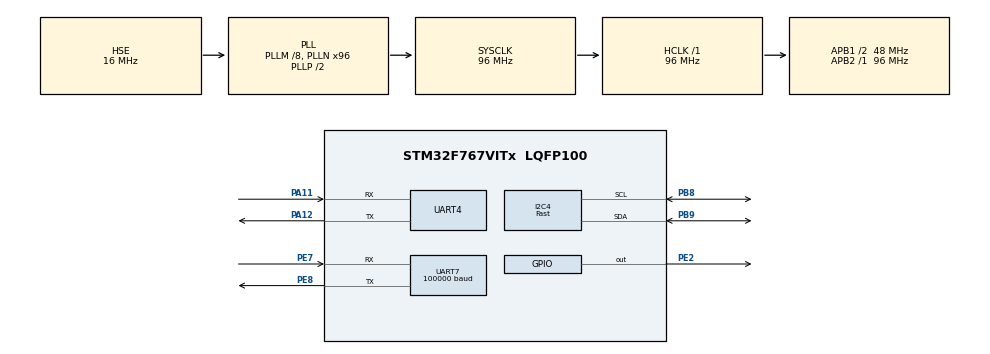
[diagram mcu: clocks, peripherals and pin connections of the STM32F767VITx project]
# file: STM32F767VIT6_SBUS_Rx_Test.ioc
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Dma.Request0=UART7_RX
Dma.UART7_RX.0.Direction=DMA_PERIPH_TO_MEMORY
Dma.UART7_RX.0.FIFOMode=DMA_FIFOMODE_DISABLE
Dma.UART7_RX.0.Instance=DMA1_Stream3
Dma.UART7_RX.0.MemDataAlignment=DMA_MDATAALIGN_BYTE
Dma.UART7_RX.0.MemInc=DMA_MINC_ENABLE
Dma.UART7_RX.0.Mode=DMA_NORMAL
Dma.UART7_RX.0.PeriphDataAlignment=DMA_PDATAALIGN_BYTE
Dma.UART7_RX.0.PeriphInc=DMA_PINC_DISABLE
Dma.UART7_RX.0.Priority=DMA_PRIORITY_VERY_HIGH
I2C4.I2C_Speed_Mode=I2C_Fast
I2C4.Timing=0x2010091A
Mcu.Family=STM32F7
Mcu.Name=STM32F767VITx
Mcu.Package=LQFP100
NVIC.DMA1_Stream3_IRQn=true\:0\:0\:false\:false\:true\:false\:true
NVIC.PriorityGroup=NVIC_PRIORITYGROUP_4
NVIC.TIM2_IRQn=true\:0\:0\:false\:false\:true\:true\:true
NVIC.UART7_IRQn=true\:0\:0\:false\:false\:true\:true\:true
PA11.Mode=Asynchronous
PA11.Signal=UART4_RX
PA12.Mode=Asynchronous
PA12.Signal=UART4_TX
PB8.Mode=I2C
PB8.Signal=I2C4_SCL
PB9.Mode=I2C
PB9.Signal=I2C4_SDA
PE2.Signal=GPIO_Output
PE7.Mode=Asynchronous
PE7.Signal=UART7_RX
PE8.Mode=Asynchronous
PE8.Signal=UART7_TX
PH0/OSC_IN.Mode=HSE-External-Oscillator
PH0/OSC_IN.Signal=RCC_OSC_IN
PH1/OSC_OUT.Mode=HSE-External-Oscillator
PH1/OSC_OUT.Signal=RCC_OSC_OUT
ProjectManager.HeapSize=0x200
ProjectManager.StackSize=0x400
ProjectManager.TargetToolchain=Makefile
RCC.AHBFreq_Value=96000000
RCC.APB1CLKDivider=RCC_HCLK_DIV2
RCC.APB1Freq_Value=48000000
RCC.APB1TimFreq_Value=96000000
RCC.APB2Freq_Value=96000000
RCC.APB2TimFreq_Value=96000000
RCC.CortexFreq_Value=96000000
RCC.HCLKFreq_Value=96000000
RCC.HSE_VALUE=16000000
RCC.HSI_VALUE=16000000
RCC.LSE_VALUE=32768
RCC.PLLM=8
RCC.PLLN=96
RCC.PLLSourceVirtual=RCC_PLLSOURCE_HSE
RCC.SYSCLKFreq_VALUE=96000000
RCC.SYSCLKSource=RCC_SYSCLKSOURCE_PLLCLK
RCC.USBFreq_Value=96000000
RCC.VCOOutputFreq_Value=192000000
TIM1.Period=65000
TIM1.Prescaler=95
TIM2.Period=9999
TIM2.Prescaler=95
UART7.BaudRate=100000
UART7.Parity=PARITY_EVEN
UART7.StopBits=UART_STOPBITS_2
UART7.WordLength=WORDLENGTH_9B
VP_TIM1_VS_ClockSourceINT.Mode=Internal
VP_TIM2_VS_ClockSourceINT.Mode=Internal
board=custom

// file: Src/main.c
/* USER CODE BEGIN Header */
/**
  ******************************************************************************
  * @file           : main.c
  * @brief          : Main program body
  ******************************************************************************
  * @attention
  *
  * <h2><center>&copy; Copyright (c) 2021 STMicroelectronics.
  * All rights reserved.</center></h2>
  *
  * This software component is licensed by ST under BSD 3-Clause license,
  * the "License"; You may not use this file except in compliance with the
  * License. You may obtain a copy of the License at:
  *                        opensource.org/licenses/BSD-3-Clause
  *
  ******************************************************************************
  */
/* USER CODE END Header */

#include "main.h"

/* USER CODE BEGIN Includes */

#include <string.h>
#include <stdio.h>

/* USER CODE END Includes */

/* USER CODE BEGIN PD */

#define SBUS_LENGTH 25

/* USER CODE END PD */

I2C_HandleTypeDef hi2c4;

TIM_HandleTypeDef htim2;

UART_HandleTypeDef huart4;
UART_HandleTypeDef huart7;
DMA_HandleTypeDef hdma_uart7_rx;

/* USER CODE BEGIN PV */

const uint8_t SBUS_start= 0x0F;
const uint8_t SBUS_end=0x00;
int SBUS_lost; //sbus packet lost

//variables to use in the callback need to be declared outside the main function
uint32_t time1[5]; //variable to store time elapsed in microseconds
uint8_t buff[512];
uint16_t channels[16];
uint8_t payloads[25];
uint8_t SBUS_buff[50];
uint8_t SBUS_NewPack = 0; //Variable to set true (1) or false (0) to let the main code know if new sbus data are available

int counter = 0;
int ch_tx_count = 0;
int align_count_mem = 0; //memory for packet alignment counter

/* USER CODE END PV */

void SystemClock_Config(void);
static void MX_GPIO_Init(void);
static void MX_DMA_Init(void);
static void MX_I2C4_Init(void);
static void MX_TIM1_Init(void);
static void MX_TIM2_Init(void);
static void MX_UART4_Init(void);
static void MX_UART7_Init(void);

int main(void)
{

  /* MCU Configuration--------------------------------------------------------*/

  /* Reset of all peripherals, Initializes the Flash interface and the Systick. */
  HAL_Init();

  /* Configure the system clock */
  SystemClock_Config();

  /* Initialize all configured peripherals */
  MX_GPIO_Init();
  MX_DMA_Init();
  MX_I2C4_Init();
  MX_TIM1_Init();
  MX_TIM2_Init();
  MX_UART4_Init();
  MX_UART7_Init();
  /* USER CODE BEGIN 2 */

  HAL_Delay(500);

  sprintf((char*)buff, "Hello!");
  HAL_UART_Transmit(&huart4, buff, strlen((char*)buff), HAL_MAX_DELAY);

  HAL_Delay(1000);

  HAL_TIM_Base_Start_IT(&htim2); //this function start the timer in interrupt mode and calls the irq handler
  HAL_Delay(1000);

  /* USER CODE END 2 */

  /* Infinite loop */
  /* USER CODE BEGIN WHILE */

	HAL_UART_Receive_DMA (&huart7, SBUS_buff, SBUS_LENGTH);

  while (1)
  {
    /* USER CODE END WHILE */

  }
}

void SystemClock_Config(void)
{
  RCC_OscInitTypeDef RCC_OscInitStruct = {0};
  RCC_ClkInitTypeDef RCC_ClkInitStruct = {0};
  RCC_PeriphCLKInitTypeDef PeriphClkInitStruct = {0};

  /** Configure the main internal regulator output voltage
  */
  __HAL_RCC_PWR_CLK_ENABLE();
  __HAL_PWR_VOLTAGESCALING_CONFIG(PWR_REGULATOR_VOLTAGE_SCALE3);
  /** Initializes the CPU, AHB and APB busses clocks
  */
  RCC_OscInitStruct.OscillatorType = RCC_OSCILLATORTYPE_HSE;
  RCC_OscInitStruct.HSEState = RCC_HSE_ON;
  RCC_OscInitStruct.PLL.PLLState = RCC_PLL_ON;
  RCC_OscInitStruct.PLL.PLLSource = RCC_PLLSOURCE_HSE;
  RCC_OscInitStruct.PLL.PLLM = 8;
  RCC_OscInitStruct.PLL.PLLN = 96;
  RCC_OscInitStruct.PLL.PLLP = RCC_PLLP_DIV2;
  RCC_OscInitStruct.PLL.PLLQ = 2;
  if (HAL_RCC_OscConfig(&RCC_OscInitStruct) != HAL_OK)
  {
    Error_Handler();
  }
  /** Activate the Over-Drive mode
  */
  if (HAL_PWREx_EnableOverDrive() != HAL_OK)
  {
    Error_Handler();
  }
  /** Initializes the CPU, AHB and APB busses clocks
  */
  RCC_ClkInitStruct.ClockType = RCC_CLOCKTYPE_HCLK|RCC_CLOCKTYPE_SYSCLK
                              |RCC_CLOCKTYPE_PCLK1|RCC_CLOCKTYPE_PCLK2;
  RCC_ClkInitStruct.SYSCLKSource = RCC_SYSCLKSOURCE_PLLCLK;
  RCC_ClkInitStruct.AHBCLKDivider = RCC_SYSCLK_DIV1;
  RCC_ClkInitStruct.APB1CLKDivider = RCC_HCLK_DIV2;
  RCC_ClkInitStruct.APB2CLKDivider = RCC_HCLK_DIV1;

  if (HAL_RCC_ClockConfig(&RCC_ClkInitStruct, FLASH_LATENCY_3) != HAL_OK)
  {
    Error_Handler();
  }
  PeriphClkInitStruct.PeriphClockSelection = RCC_PERIPHCLK_UART4|RCC_PERIPHCLK_UART7
                              |RCC_PERIPHCLK_I2C4;
  PeriphClkInitStruct.Uart4ClockSelection = RCC_UART4CLKSOURCE_PCLK1;
  PeriphClkInitStruct.Uart7ClockSelection = RCC_UART7CLKSOURCE_PCLK1;
  PeriphClkInitStruct.I2c4ClockSelection = RCC_I2C4CLKSOURCE_PCLK1;
  if (HAL_RCCEx_PeriphCLKConfig(&PeriphClkInitStruct) != HAL_OK)
  {
    Error_Handler();
  }
}

static void MX_I2C4_Init(void)
{

  hi2c4.Instance = I2C4;
  hi2c4.Init.Timing = 0x2010091A;
  hi2c4.Init.OwnAddress1 = 0;
  hi2c4.Init.AddressingMode = I2C_ADDRESSINGMODE_7BIT;
  hi2c4.Init.DualAddressMode = I2C_DUALADDRESS_DISABLE;
  hi2c4.Init.OwnAddress2 = 0;
  hi2c4.Init.OwnAddress2Masks = I2C_OA2_NOMASK;
  hi2c4.Init.GeneralCallMode = I2C_GENERALCALL_DISABLE;
  hi2c4.Init.NoStretchMode = I2C_NOSTRETCH_DISABLE;
  if (HAL_I2C_Init(&hi2c4) != HAL_OK)
  {
    Error_Handler();
  }
  /** Configure Analogue filter
  */
  if (HAL_I2CEx_ConfigAnalogFilter(&hi2c4, I2C_ANALOGFILTER_ENABLE) != HAL_OK)
  {
    Error_Handler();
  }
  /** Configure Digital filter
  */
  if (HAL_I2CEx_ConfigDigitalFilter(&hi2c4, 0) != HAL_OK)
  {
    Error_Handler();
  }

}

static void MX_TIM1_Init(void)
{

  LL_TIM_InitTypeDef TIM_InitStruct = {0};

  /* Peripheral clock enable */
  LL_APB2_GRP1_EnableClock(LL_APB2_GRP1_PERIPH_TIM1);

  TIM_InitStruct.Prescaler = 95;
  TIM_InitStruct.CounterMode = LL_TIM_COUNTERMODE_UP;
  TIM_InitStruct.Autoreload = 65000;
  TIM_InitStruct.ClockDivision = LL_TIM_CLOCKDIVISION_DIV1;
  TIM_InitStruct.RepetitionCounter = 0;
  LL_TIM_Init(TIM1, &TIM_InitStruct);
  LL_TIM_DisableARRPreload(TIM1);
  LL_TIM_SetClockSource(TIM1, LL_TIM_CLOCKSOURCE_INTERNAL);
  LL_TIM_SetTriggerOutput(TIM1, LL_TIM_TRGO_RESET);
  LL_TIM_SetTriggerOutput2(TIM1, LL_TIM_TRGO2_RESET);
  LL_TIM_DisableMasterSlaveMode(TIM1);

}

static void MX_TIM2_Init(void)
{

  TIM_ClockConfigTypeDef sClockSourceConfig = {0};
  TIM_MasterConfigTypeDef sMasterConfig = {0};

  htim2.Instance = TIM2;
  htim2.Init.Prescaler = 95;
  htim2.Init.CounterMode = TIM_COUNTERMODE_UP;
  htim2.Init.Period = 9999;
  htim2.Init.ClockDivision = TIM_CLOCKDIVISION_DIV1;
  htim2.Init.AutoReloadPreload = TIM_AUTORELOAD_PRELOAD_DISABLE;
  if (HAL_TIM_Base_Init(&htim2) != HAL_OK)
  {
    Error_Handler();
  }
  sClockSourceConfig.ClockSource = TIM_CLOCKSOURCE_INTERNAL;
  if (HAL_TIM_ConfigClockSource(&htim2, &sClockSourceConfig) != HAL_OK)
  {
    Error_Handler();
  }
  sMasterConfig.MasterOutputTrigger = TIM_TRGO_RESET;
  sMasterConfig.MasterSlaveMode = TIM_MASTERSLAVEMODE_DISABLE;
  if (HAL_TIMEx_MasterConfigSynchronization(&htim2, &sMasterConfig) != HAL_OK)
  {
    Error_Handler();
  }

}

static void MX_UART4_Init(void)
{

  huart4.Instance = UART4;
  huart4.Init.BaudRate = 115200;
  huart4.Init.WordLength = UART_WORDLENGTH_8B;
  huart4.Init.StopBits = UART_STOPBITS_1;
  huart4.Init.Parity = UART_PARITY_NONE;
  huart4.Init.Mode = UART_MODE_TX_RX;
  huart4.Init.HwFlowCtl = UART_HWCONTROL_NONE;
  huart4.Init.OverSampling = UART_OVERSAMPLING_16;
  huart4.Init.OneBitSampling = UART_ONE_BIT_SAMPLE_DISABLE;
  huart4.AdvancedInit.AdvFeatureInit = UART_ADVFEATURE_NO_INIT;
  if (HAL_UART_Init(&huart4) != HAL_OK)
  {
    Error_Handler();
  }

}

static void MX_UART7_Init(void)
{

  huart7.Instance = UART7;
  huart7.Init.BaudRate = 100000;
  huart7.Init.WordLength = UART_WORDLENGTH_9B;
  huart7.Init.StopBits = UART_STOPBITS_2;
  huart7.Init.Parity = UART_PARITY_EVEN;
  huart7.Init.Mode = UART_MODE_TX_RX;
  huart7.Init.HwFlowCtl = UART_HWCONTROL_NONE;
  huart7.Init.OverSampling = UART_OVERSAMPLING_16;
  huart7.Init.OneBitSampling = UART_ONE_BIT_SAMPLE_DISABLE;
  huart7.AdvancedInit.AdvFeatureInit = UART_ADVFEATURE_NO_INIT;
  if (HAL_UART_Init(&huart7) != HAL_OK)
  {
    Error_Handler();
  }

}

static void MX_DMA_Init(void)
{

  /* DMA controller clock enable */
  __HAL_RCC_DMA1_CLK_ENABLE();

  /* DMA interrupt init */
  /* DMA1_Stream3_IRQn interrupt configuration */
  HAL_NVIC_SetPriority(DMA1_Stream3_IRQn, 0, 0);
  HAL_NVIC_EnableIRQ(DMA1_Stream3_IRQn);

}

static void MX_GPIO_Init(void)
{
  GPIO_InitTypeDef GPIO_InitStruct = {0};

  /* GPIO Ports Clock Enable */
  __HAL_RCC_GPIOE_CLK_ENABLE();
  __HAL_RCC_GPIOH_CLK_ENABLE();
  __HAL_RCC_GPIOA_CLK_ENABLE();
  __HAL_RCC_GPIOB_CLK_ENABLE();

  /*Configure GPIO pin Output Level */
  HAL_GPIO_WritePin(GPIOE, GPIO_PIN_2, GPIO_PIN_RESET);

  /*Configure GPIO pin : PE2 */
  GPIO_InitStruct.Pin = GPIO_PIN_2;
  GPIO_InitStruct.Mode = GPIO_MODE_OUTPUT_PP;
  GPIO_InitStruct.Pull = GPIO_NOPULL;
  GPIO_InitStruct.Speed = GPIO_SPEED_FREQ_LOW;
  HAL_GPIO_Init(GPIOE, &GPIO_InitStruct);

}

/* USER CODE BEGIN 4 */

//function executed as timer callback
void HAL_TIM_PeriodElapsedCallback(TIM_HandleTypeDef* htim){

  if (htim==&htim2){

    if (counter >= 100){
      HAL_GPIO_TogglePin(GPIOE, GPIO_PIN_2);
      counter = 0;
    }

    if (ch_tx_count >= 10){
      ch_tx_count = 0;

      if (SBUS_NewPack){

        // sprintf((char*)buff, "head = %d\n\r", payloads[0]);
        // HAL_UART_Transmit(&huart4, buff, strlen((char*)buff), HAL_MAX_DELAY);

        if (((payloads[23]) & 0x10) == 0x10){
          sprintf((char*)buff, "FAILSAFE\n\r");
          HAL_UART_Transmit(&huart4, buff, strlen((char*)buff), HAL_MAX_DELAY);
        }

        sprintf((char*)buff, "ch2= %d  ch3= %d  i= %d\n\r", channels[1], channels[2], align_count_mem);
        HAL_UART_Transmit(&huart4, buff, strlen((char*)buff), HAL_MAX_DELAY);

        SBUS_NewPack = 0;
      }

    }

    counter += 1;
    ch_tx_count += 1;

  }

}

// Function Called by nterrupt handler when DMA rx transfer complete
void HAL_UART_RxCpltCallback(UART_HandleTypeDef *huart){

  if (huart == &huart7){

    //check for data alignment
    for (int i=0; i<SBUS_LENGTH; i++){

      if (SBUS_buff[i]==SBUS_start && SBUS_buff[i + SBUS_LENGTH - 1]==SBUS_end){

        memcpy(payloads, &SBUS_buff[i], SBUS_LENGTH);
        SBUS_lost = 0; //lost packet flag
        align_count_mem = i;
        break;

      } else {
        SBUS_lost = 1;
      }

    }

    //updates channels and newpacket only if Data are aligned
    if (SBUS_lost == 0){

      channels[0]  = (((payloads[2]  << 8) | (payloads[1])) & (0x07FF));
      channels[1]  = (((payloads[2]  >> 3) | (payloads[3]  << 5)) & (0x07FF));
      channels[2]  = ((((payloads[3]  >> 6) | (payloads[4]  << 2))  | (payloads[5] << 10)) & (0x07FF));
      channels[3]  = (((payloads[5]  >> 1) | (payloads[6]  << 7)) & (0x07FF));
      SBUS_NewPack=1; //Set the new pak available variable to true

    }

    //channels decomposition

    // channels[4]  = (uint16_t)((payloads[6]  >> 4) | (payloads[7]  << 4) & (0x07FF));
    // channels[5]  = (uint16_t)((payloads[7]  >> 7) | (payloads[8]  << 1)  | (payloads[9] << 9) & (0x07FF));
    // channels[6]  = (uint16_t)((payloads[9]  >> 2) | (payloads[10] << 6) & (0x07FF));
    // channels[7]  = (uint16_t)((payloads[10] >> 5) | (payloads[11] << 3) & (0x07FF));
    // channels[8]  = (uint16_t)((payloads[12])      | (payloads[13] << 8) & (0x07FF));
    // channels[9]  = (uint16_t)((payloads[13] >> 3) | (payloads[14] << 5) & (0x07FF));
    // channels[10] = (uint16_t)((payloads[14] >> 6) | (payloads[15] << 2)  | (payloads[16] << 10) & (0x07FF));
    // channels[11] = (uint16_t)((payloads[16] >> 1) | (payloads[17] << 7) & (0x07FF));
    // channels[12] = (uint16_t)((payloads[17] >> 4) | (payloads[18] << 4) & (0x07FF));
    // channels[13] = (uint16_t)((payloads[18] >> 7) | (payloads[19] << 1)  | (payloads[20] << 9) & (0x07FF));
    // channels[14] = (uint16_t)((payloads[20] >> 2) | (payloads[21] << 6) & (0x07FF));
    // channels[15] = (uint16_t)((payloads[21] >> 5) | (payloads[22] << 3) & (0x07FF));

	  HAL_UART_Receive_DMA (&huart7, SBUS_buff, SBUS_LENGTH);
  }

}

/* USER CODE END 4 */

void Error_Handler(void)
{
}

/************************ (C) COPYRIGHT STMicroelectronics *****END OF FILE****/
